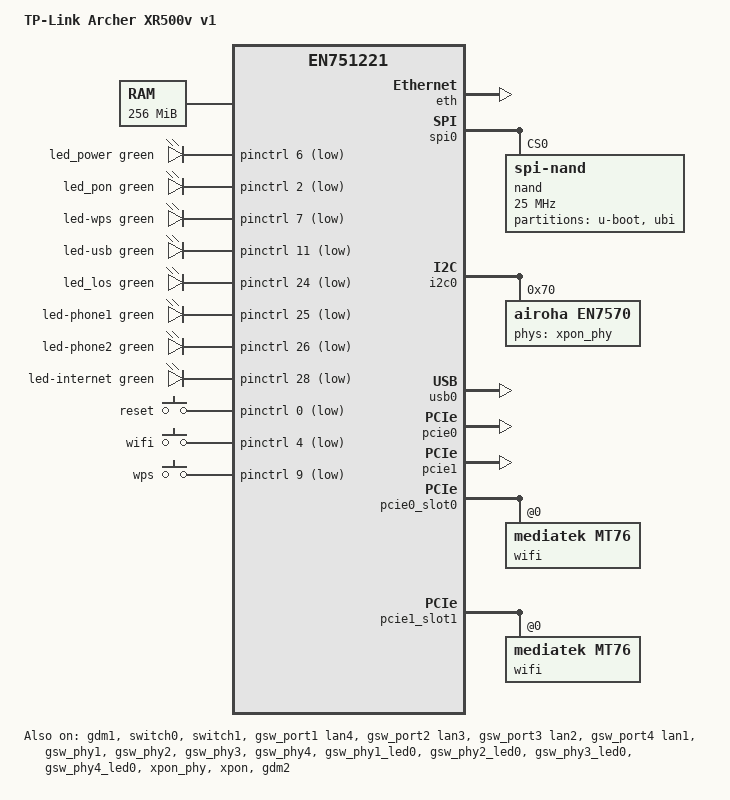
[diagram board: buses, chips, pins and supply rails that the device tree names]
// SPDX-License-Identifier: (GPL-2.0-only OR BSD-2-Clause)
/dts-v1/;

#include "en751221.dtsi"

/ {
	model = "TP-Link Archer XR500v v1";
	compatible = "tplink,archer-xr500v-v1", "econet,en751221";

	/* The sampled board identifies as EN7526G within the EN751221 family. */
	memory@0 {
		device_type = "memory";
		reg = <0x00000000 0x10000000>;
	};

	reserved-memory {
		#address-cells = <1>;
		#size-cells = <1>;
		ranges;

		/*
		 * The boot firmware leaves the QDMA SLM bypassed, so the WAN
		 * forwarding pool lives in DRAM. Without this region the driver
		 * falls back to 256 x 2048-byte buffers and the reduced
		 * congestion profile, and bursty WiFi upstream is tail-dropped.
		 */
		qdma1_buf: qdma1-buf@d400000 {
			reg = <0x0d400000 0x00800000>;
			no-map;
		};
	};

	chosen {
		stdout-path = "/serial@1fbf0000:115200";
		rootdisk = <&firmware>;
		bootargs = "console=ttyS0,115200 loglevel=4 ubi.block=0,fit root=/dev/fit0 rootwait";
		linux,usable-memory-range = <0x00020000 0x0ffe0000>;
	};

	aliases {
		led-boot = &led_power;
		led-failsafe = &led_power;
		led-running = &led_power;
		led-upgrade = &led_power;
	};

	leds {
		compatible = "gpio-leds";

		/* GPIO 6, not hardwired: the OEM bootloader switched it on and
		 * OpenWrt's U-Boot uses it as its boot LED. Keep it on.
		 */
		led_power: led-power {
			gpios = <&pinctrl 6 GPIO_ACTIVE_LOW>;
			color = <LED_COLOR_ID_GREEN>;
			function = LED_FUNCTION_POWER;
			function-enumerator = <6>;
			default-state = "on";
		};

		led_pon: led-pon {
			gpios = <&pinctrl 2 GPIO_ACTIVE_LOW>;
			color = <LED_COLOR_ID_GREEN>;
			function = LED_FUNCTION_XPON;
			function-enumerator = <2>;
			default-state = "off";
		};

		led-wps {
			gpios = <&pinctrl 7 GPIO_ACTIVE_LOW>;
			color = <LED_COLOR_ID_GREEN>;
			function = LED_FUNCTION_WPS;
			function-enumerator = <7>;
			default-state = "off";
		};

		led-usb {
			gpios = <&pinctrl 11 GPIO_ACTIVE_LOW>;
			color = <LED_COLOR_ID_GREEN>;
			function = LED_FUNCTION_USB;
			function-enumerator = <11>;
			default-state = "off";
		};

		led_los: led-los {
			gpios = <&pinctrl 24 GPIO_ACTIVE_LOW>;
			color = <LED_COLOR_ID_GREEN>;
			function = LED_FUNCTION_XPON_LOS;
			function-enumerator = <24>;
			default-state = "off";
		};

		led-phone1 {
			gpios = <&pinctrl 25 GPIO_ACTIVE_LOW>;
			color = <LED_COLOR_ID_GREEN>;
			function = LED_FUNCTION_VOIP;
			function-enumerator = <25>;
			default-state = "off";
		};

		led-phone2 {
			gpios = <&pinctrl 26 GPIO_ACTIVE_LOW>;
			color = <LED_COLOR_ID_GREEN>;
			function = LED_FUNCTION_VOIP;
			function-enumerator = <26>;
			default-state = "off";
		};

		led-internet {
			gpios = <&pinctrl 28 GPIO_ACTIVE_LOW>;
			color = <LED_COLOR_ID_GREEN>;
			function = LED_FUNCTION_WAN_ONLINE;
			function-enumerator = <6>;
			default-state = "off";
		};
	};

	keys {
		compatible = "gpio-keys-polled";
		poll-interval = <20>;

		key-reset {
			label = "reset";
			linux,code = <KEY_RESTART>;
			gpios = <&pinctrl 0 GPIO_ACTIVE_LOW>;
			debounce-interval = <60>;
		};

		key-wifi {
			label = "wifi";
			linux,code = <KEY_RFKILL>;
			gpios = <&pinctrl 4 GPIO_ACTIVE_LOW>;
			debounce-interval = <60>;
		};

		key-wps {
			label = "wps";
			linux,code = <KEY_WPS_BUTTON>;
			gpios = <&pinctrl 9 GPIO_ACTIVE_LOW>;
			debounce-interval = <60>;
		};
	};
};

&eth {
	memory-region = <&qdma1_buf>;
	memory-region-names = "qdma1-buf";
	status = "okay";
};

&gdm1 {
	nvmem-cells = <&macaddr_misc_f100 0>;
	nvmem-cell-names = "mac-address";
	status = "okay";
};

&switch0 {
	status = "okay";
};

/* The four RJ45 ports hang off the MT7530 (switch1) behind the internal
 * switch; port 0 of the MT7530 is not wired. Physical LAN labels run
 * opposite to the switch port indices.
 */
&switch1 {
	status = "okay";
};

&gsw_port1 {
	label = "lan4";
	status = "okay";
};

&gsw_port2 {
	label = "lan3";
	status = "okay";
};

&gsw_port3 {
	label = "lan2";
	status = "okay";
};

&gsw_port4 {
	label = "lan1";
	status = "okay";
};

&gsw_phy1 {
	status = "okay";
};

&gsw_phy2 {
	status = "okay";
};

&gsw_phy3 {
	status = "okay";
};

&gsw_phy4 {
	status = "okay";
};

&gsw_phy1_led0 {
	status = "okay";
	color = <LED_COLOR_ID_GREEN>;
};

&gsw_phy2_led0 {
	status = "okay";
	color = <LED_COLOR_ID_GREEN>;
};

&gsw_phy3_led0 {
	status = "okay";
	color = <LED_COLOR_ID_GREEN>;
};

&gsw_phy4_led0 {
	status = "okay";
	color = <LED_COLOR_ID_GREEN>;
};

&spi0 {
	nand: flash@0 {
		compatible = "spi-nand";
		reg = <0>;
		spi-max-frequency = <25000000>;
		spi-rx-bus-width = <2>;
		spi-tx-bus-width = <1>;
		nand-ecc-engine = <&nand>;

		/* Layout of OpenWrt's U-Boot for this board (airoha/u-boot), which replaces
		 * the OEM bootloader and its BMT block remapping: tcboot.bin (DDR stage and
		 * U-Boot) in the first MiB, everything else in one UBI partition. U-Boot's
		 * format_ubi_part creates the volumes and copies the OEM "misc" partition
		 * into the "misc" volume, so the factory data keeps its OEM offsets.
		 */
		partitions {
			compatible = "fixed-partitions";
			#address-cells = <1>;
			#size-cells = <1>;

			partition@0 {
				label = "u-boot";
				reg = <0x000000 0x100000>;
				read-only;
			};

			partition@100000 {
				label = "ubi";
				compatible = "linux,ubi";
				reg = <0x100000 0x7f00000>;

				volumes {
					ubi-volume-ubootenv {
						volname = "ubootenv";

						nvmem-layout {
							compatible = "u-boot,env-redundant-bool";
						};
					};

					ubi-volume-ubootenv2 {
						volname = "ubootenv2";

						nvmem-layout {
							compatible = "u-boot,env-redundant-bool";
						};
					};

					ubi-volume-misc {
						volname = "misc";
						read-only;

						nvmem-layout {
							compatible = "fixed-layout";
							#address-cells = <1>;
							#size-cells = <1>;

							/* LAN MAC from the label; WAN is +1, Wi-Fi +2. */
							macaddr_misc_f100: macaddr@f100 {
								compatible = "mac-base";
								reg = <0xf100 0x6>;
								#nvmem-cell-cells = <1>;
							};

							/* Airoha LDD/LA calibration: 100 words, magic 0x07050700 at +0x94. */
							en7570_cal: calibration@20000 {
								reg = <0x20000 0x190>;
							};

							/* MT7662 (5 GHz) EEPROM, for the PCIe radio node. */
							eeprom_misc_e0000: eeprom@e0000 {
								reg = <0xe0000 0x200>;
							};
						};
					};

					firmware: ubi-volume-firmware {
						volname = "fit";
						compatible = "denx,uimage";
					};
				};
			};
		};
	};
};

/* Airoha LDD/LA at I2C 0x70, bound as en7570 like the other EN751221 boards
 * (Genexis Platinum-4410, Jiuzhou EN7526GT), with the factory calibration
 * from the "misc" volume.
 */
&i2c0 {
	status = "okay";

	en7570: lddla@70 {
		compatible = "airoha,en7570";
		reg = <0x70>;

		phys = <&xpon_phy>;
		phy-names = "xpon";

		nvmem-cells = <&en7570_cal>;
		nvmem-cell-names = "calibration";

		#optical-frontend-cells = <0>;
	};
};

&xpon_phy {
	status = "okay";

	vcc-disable-gpios = <&pinctrl 27 GPIO_ACTIVE_HIGH>;
};

&xpon {
	status = "okay";

	airoha,gpon-serial-from-mac;
	omci-vendor-id = "TPLG";

	/* Order consumed by airoha-xpon: GPON status, then LOS. */
	leds = <&led_pon>, <&led_los>;
	led-names = "pon", "los";

	optical-frontends = <&en7570>;
	optical-frontend-names = "pon";
};

&gdm2 {
	status = "okay";
	phy-mode = "internal";
	airoha,xpon-managed;

	nvmem-cells = <&macaddr_misc_f100 1>;
	nvmem-cell-names = "mac-address";

	openwrt,netdev-name = "pon0";
};

&usb0 {
	/* The populated connector uses USB2; there is no USB3 PHY lane. */
	mediatek,u3p-dis-msk = <0x1>;
	status = "okay";
};

/* PCIe port 0 carries the MT7603 (2.4 GHz). It only enumerates with the
 * vendor config-TLP format and a second reset after the PHY comes up, both
 * opt-in in pcie-mediatek (airoha/kernel). Port 1 carries the MT7662 (5 GHz).
 */
&pcie0 {
	status = "okay";
	econet,en751221-port0-quirks;
};

&pcie1 {
	status = "okay";
};

&pcie0_slot0 {
	wifi@0,0 {
		compatible = "mediatek,mt76";
		reg = <0x0000 0 0 0 0>;

		/*
		 * MT7603 expects a 1 KiB EEPROM. mt76 zero-initializes that
		 * buffer before copying this compact 256-byte non-zero prefix;
		 * valid calibration-free fields are then merged from eFuse.
		 */
		mediatek,eeprom-data = [
			03 76 00 00 02 76 03 50 00 01 00 00 00 00 00 00
			00 00 00 00 00 00 00 00 00 00 00 00 00 00 00 00
			00 00 00 00 00 00 00 00 00 00 00 00 00 00 00 00
			00 00 00 00 22 00 00 00 00 00 00 00 00 00 00 00
			00 00 00 00 00 00 00 00 00 00 00 00 00 00 00 00
			00 00 00 00 00 b8 40 c8 20 00 00 00 40 c8 20 00
			00 00 00 00 00 00 00 00 00 00 00 00 00 00 00 00
			00 00 00 00 00 00 00 00 00 00 00 00 00 00 00 00
			00 00 00 00 00 00 00 00 00 00 00 00 00 00 00 00
			00 00 00 00 00 00 00 00 00 00 00 00 00 00 00 00
			00 00 00 00 00 00 00 00 00 00 00 00 00 00 00 00
			00 00 00 00 00 00 00 00 00 00 00 00 00 00 00 00
			00 00 00 00 00 00 00 00 00 00 00 00 00 00 00 00
			00 00 00 00 00 00 00 00 00 00 00 00 00 00 00 00
			00 00 00 00 00 00 00 00 00 00 00 00 00 00 00 00
			05 00 00 00 a4 00 00 88 00 00 00 00 00 00 00 00
		];
		mediatek,eeprom-merge-otp;
		/* The panel Wi-Fi LED hangs off the chip's GPIO12/13 pads. */
		mediatek,gpio-led;
		nvmem-cells = <&macaddr_misc_f100 1>;
		nvmem-cell-names = "mac-address";
	};
};

&pcie1_slot1 {
	wifi@0,0 {
		compatible = "mediatek,mt76";
		reg = <0x0000 0 0 0 0>;
		nvmem-cells = <&eeprom_misc_e0000>, <&macaddr_misc_f100 2>;
		nvmem-cell-names = "eeprom", "mac-address";

		led {
			led-sources = <2>;
			led-active-low;
		};
	};
};
